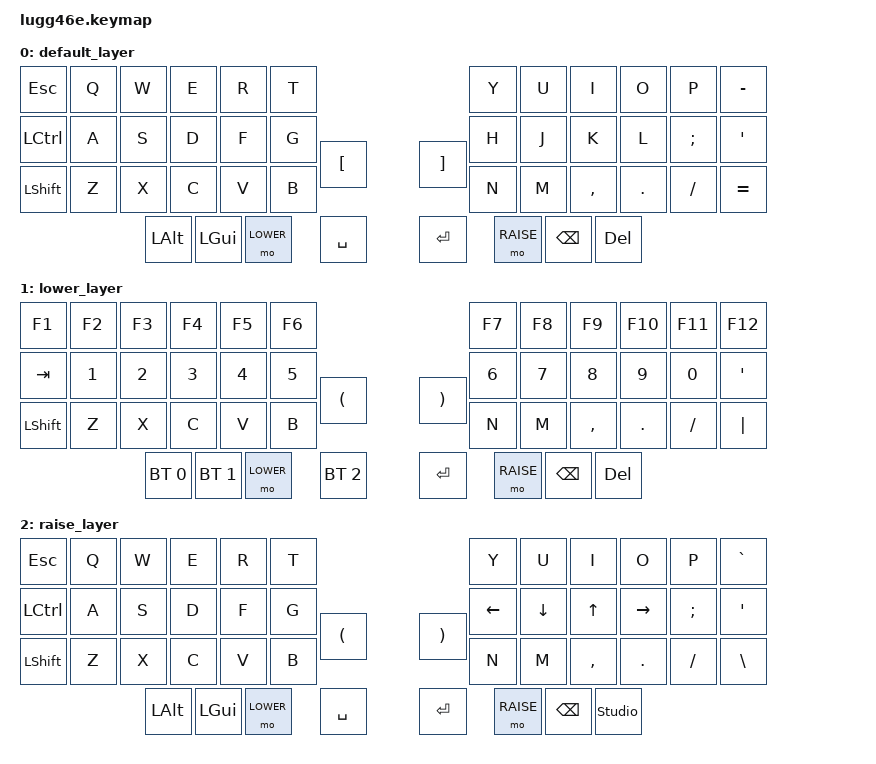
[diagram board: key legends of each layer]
#include <behaviors.dtsi>
#include <dt-bindings/zmk/keys.h>
#include <dt-bindings/zmk/bt.h>

#define DEFAULT 0
#define LOWER   1
#define RAISE   2

/ {
    keymap {
        compatible = "zmk,keymap";

        default_layer {
// ------------------------------------------------------------------------------------------------------------------------------------------------
            bindings = <
    &kp ESC    &kp Q    &kp W     &kp E     &kp R     &kp T                            &kp Y     &kp U     &kp I     &kp O     &kp P     &kp MINUS
    &kp LCTRL  &kp A    &kp S     &kp D     &kp F     &kp G                            &kp H     &kp J     &kp K     &kp L     &kp SEMI  &kp SQT
    &kp LSHIFT &kp Z    &kp X     &kp C     &kp V     &kp B                            &kp N     &kp M     &kp COMMA &kp DOT   &kp FSLH  &kp EQUAL
                        &kp LALT  &kp LGUI  &mo LOWER &kp SPACE &kp LBKT      &kp RBKT &kp RET   &mo RAISE &kp BSPC  &kp DEL
            >;
        };
        
        lower_layer {
// ------------------------------------------------------------------------------------------------------------------------------------------------
            bindings = <
    &kp F1    &kp F2    &kp F3    &kp F4    &kp F5    &kp F6                           &kp F7    &kp F8    &kp F9    &kp F10   &kp F11   &kp F12
    &kp TAB   &kp N1    &kp N2    &kp N3    &kp N4    &kp N5                           &kp N6    &kp N7    &kp N8    &kp N9    &kp N0    &kp SQT
    &kp LSHIFT &kp Z    &kp X     &kp C     &kp V     &kp B                            &kp N     &kp M     &kp COMMA &kp DOT   &kp FSLH  &kp PIPE
                        &bt BT_SEL 0 &bt BT_SEL 1 &mo LOWER &bt BT_SEL 2 &kp LPAR      &kp RPAR &kp RET   &mo RAISE &kp BSPC  &kp DEL
            >;
        };
        
        raise_layer {
// ------------------------------------------------------------------------------------------------------------------------------------------------
            bindings = <
    &kp ESC    &kp Q    &kp W     &kp E     &kp R     &kp T                            &kp Y     &kp U     &kp I     &kp O     &kp P     &kp GRAVE
    &kp LCTRL  &kp A    &kp S     &kp D     &kp F     &kp G                            &kp LEFT  &kp DOWN  &kp UP    &kp RIGHT &kp SEMI  &kp SQT
    &kp LSHIFT &kp Z    &kp X     &kp C     &kp V     &kp B                            &kp N     &kp M     &kp COMMA &kp DOT   &kp FSLH  &kp BSLH
                        &kp LALT  &kp LGUI  &mo LOWER &kp SPACE  &kp LPAR    &kp RPAR  &kp RET   &mo RAISE &kp BSPC  &studio_unlock
            >;
        };
    };
};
